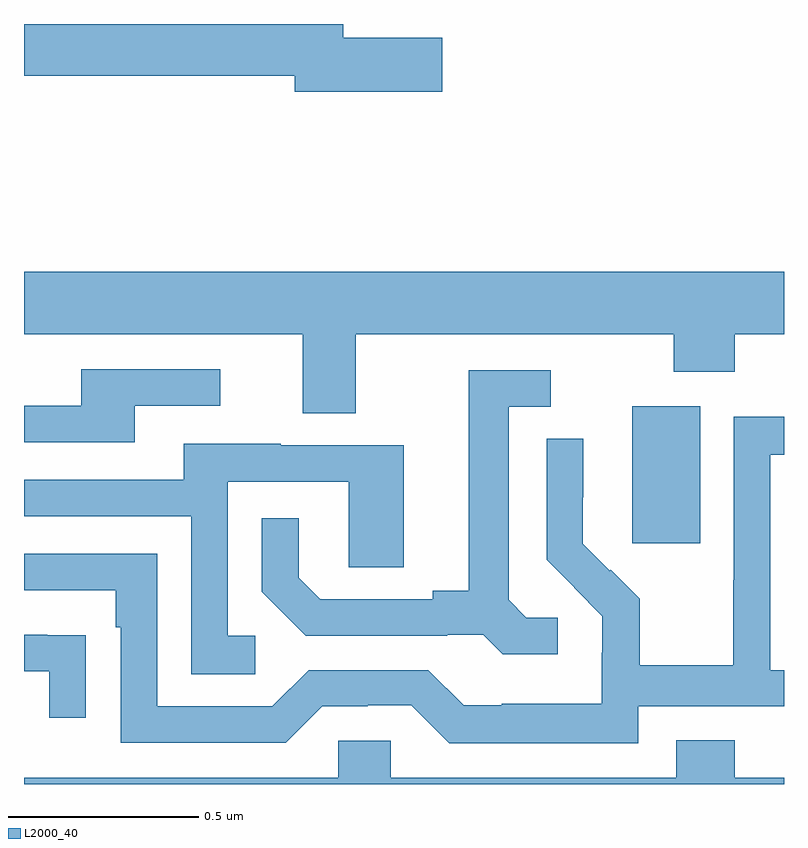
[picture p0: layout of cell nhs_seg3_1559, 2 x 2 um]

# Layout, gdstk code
import gdstk
lib = gdstk.Library(unit=1e-6, precision=1e-09)
def R(c, l, rs):  # rectangles x0, y0, x1, y1
    for r in rs: c.add(gdstk.rectangle(r[:2], r[2:], *l))
def P(c, l, *ps):  # polygons
    for p in ps: c.add(gdstk.Polygon(p, *l))
L2000_40 = (2000, 40)

nhs_seg3_1559 = lib.new_cell('nhs_seg3_1559')
R(nhs_seg3_1559, L2000_40, [(131.6,699.033,131.779,699.394)])
P(nhs_seg3_1559, L2000_40, [(131.101,700.364),(130.84,700.364),(130.84,700.4),(130,700.4),(130,700.264),(130.712,700.264),(130.712,700.222),(131.101,700.222)],
  [(130.873,699.584),(131.71,699.584),(131.71,699.485),(131.87,699.485),(131.87,699.584),(132,699.584),(132,699.748),(130,699.748),(130,699.584),(130.733,699.584),(130.733,699.376),(130.873,699.376)],
  [(130.291,699.396),(130.516,699.396),(130.516,699.492),(130.151,699.492),(130.151,699.396),(130,699.396),(130,699.3),(130.291,699.3)],
  [(131.404,698.838),(131.322,698.838),(131.275,698.885),(131.275,699.393),(131.386,699.393),(131.386,699.489),(131.171,699.489),(131.171,698.909),(131.075,698.909),(131.075,698.886),(130.78,698.886),(130.723,698.943),(130.723,699.1),(130.626,699.1),(130.626,698.906),(130.742,698.79),(131.114,698.79),(131.114,698.793),(131.208,698.793),(131.26,698.741),(131.404,698.741)],
  [(131.616,698.604),(132,698.604),(132,698.7),(131.964,698.7),(131.964,699.267),(132,699.267),(132,699.366),(131.868,699.366),(131.868,698.936),(131.866,698.936),(131.866,698.713),(131.621,698.713),(131.621,698.887),(131.544,698.964),(131.541,698.961),(131.471,699.032),(131.471,699.154),(131.472,699.154),(131.472,699.308),(131.376,699.308),(131.376,698.99),(131.449,698.917),(131.448,698.916),(131.522,698.842),(131.522,698.745),(131.52,698.745),(131.52,698.611),(131.257,698.611),(131.257,698.607),(131.157,698.607),(131.064,698.7),(130.749,698.7),(130.653,698.604),(130.35,698.604),(130.35,699.006),(130,699.006),(130,698.91),(130.241,698.91),(130.241,698.813),(130.254,698.813),(130.254,698.508),(130.689,698.508),(130.785,698.604),(130.904,698.604),(130.904,698.607),(131.019,698.607),(131.119,698.507),(131.616,698.507)],
  [(130.608,698.79),(130.536,698.79),(130.536,699.195),(130.854,699.195),(130.854,698.971),(130.999,698.971),(130.999,699.291),(130.675,699.291),(130.675,699.295),(130.421,699.295),(130.421,699.201),(130,699.201),(130,699.105),(130.44,699.105),(130.44,698.689),(130.608,698.689)],
  [(130.163,698.792),(130.061,698.792),(130.061,698.793),(130,698.793),(130,698.697),(130.067,698.697),(130.067,698.574),(130.163,698.574)],
  [(132,698.416),(131.87,698.416),(131.87,698.515),(131.717,698.515),(131.717,698.416),(130.965,698.416),(130.965,698.514),(130.827,698.514),(130.827,698.416),(130,698.416),(130,698.4),(132,698.4)])

lib.write_gds('nhs_seg3_1559.gds')
